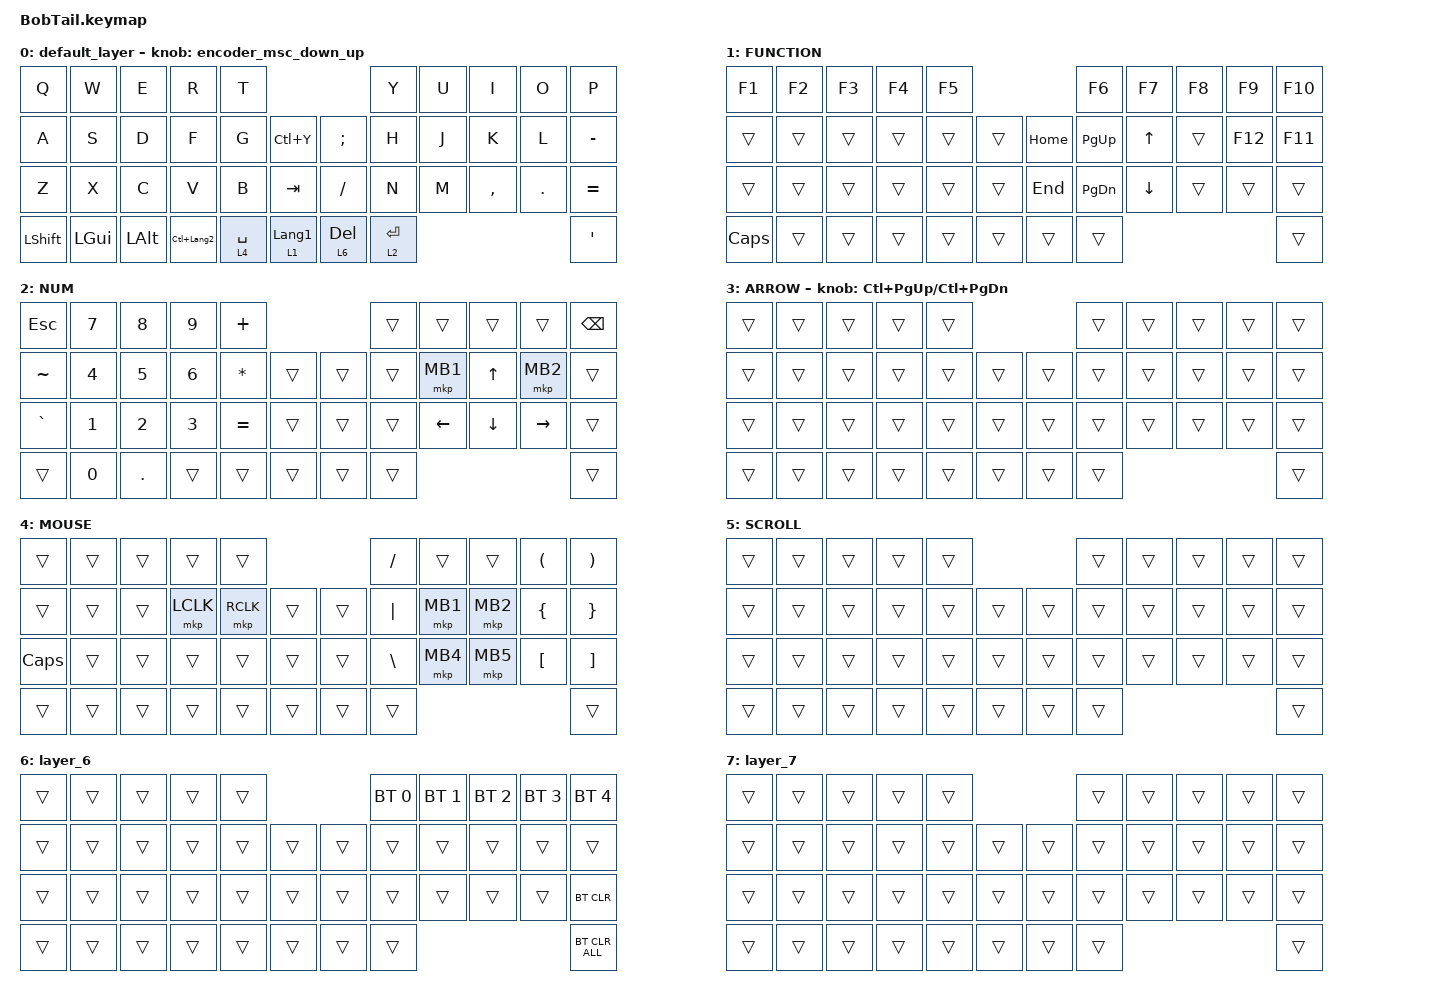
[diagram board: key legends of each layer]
#include <behaviors.dtsi>
#include <dt-bindings/zmk/bt.h>
#include <dt-bindings/zmk/keys.h>
#include <dt-bindings/zmk/pointing.h>

#define MOUSE 4
#define SCROLL 5
#define NUM 6
#define ZMK_POINTING_DEFAULT_SCRL_VAL 80

&mt {
    flavor = "balanced";
    quick-tap-ms = <0>;
};

/ {
    combos {
        compatible = "zmk,combos";

        shift_tab {
            bindings = <&kp LANG2>;
            key-positions = <12 13>;
        };

        lang {
            bindings = <&kp LANG1>;
            key-positions = <18 19>;
        };
    };

    behaviors {
        encoder_msc_down_up: encoder_msc_down_up {
            compatible = "zmk,behavior-sensor-rotate";
            label = "ENCODER_MSC_DOWN_UP";
            #sensor-binding-cells = <0>;
            bindings = <&msc SCRL_UP>, <&msc SCRL_DOWN>;

            tap-ms = <20>;
        };
    };

    keymap {
        compatible = "zmk,keymap";

        default_layer {
            bindings = <
&kp Q           &kp W     &kp E         &kp R               &kp T                                             &kp Y        &kp U  &kp I      &kp O    &kp P
&kp A           &kp S     &kp D         &kp F               &kp G        &kp LC(Y)             &kp SEMICOLON  &kp H        &kp J  &kp K      &kp L    &kp MINUS
&kp Z           &kp X     &kp C         &kp V               &kp B        &kp TAB               &kp SLASH      &kp N        &kp M  &kp COMMA  &kp DOT  &kp EQUAL
&kp LEFT_SHIFT  &kp LGUI  &kp LEFT_ALT  &kp LC(LANGUAGE_2)  &lt 4 SPACE  &lt 1 LANGUAGE_1      &lt 6 DEL      &lt 2 ENTER                             &kp SQT
            >;

            sensor-bindings = <&encoder_msc_down_up>;
        };

        FUNCTION {
            bindings = <
&kp F1    &kp F2  &kp F3  &kp F4  &kp F5                        &kp F6         &kp F7        &kp F8  &kp F9   &kp F10
&trans    &trans  &trans  &trans  &trans  &trans      &kp HOME  &kp PAGE_UP    &kp UP_ARROW  &trans  &kp F12  &kp F11
&trans    &trans  &trans  &trans  &trans  &trans      &kp END   &kp PAGE_DOWN  &kp DOWN      &trans  &trans   &trans
&kp CAPS  &trans  &trans  &trans  &trans  &trans      &trans    &trans                                        &trans
            >;
        };

        NUM {
            bindings = <
&kp ESCAPE  &kp N7  &kp N8      &kp N9  &kp PLUS                          &trans  &trans          &trans          &trans           &kp BACKSPACE
&kp TILDE   &kp N4  &kp N5      &kp N6  &kp ASTERISK  &trans      &trans  &trans  &mkp MB1        &kp UP_ARROW    &mkp MB2         &trans
&kp GRAVE   &kp N1  &kp N2      &kp N3  &kp EQUAL     &trans      &trans  &trans  &kp LEFT_ARROW  &kp DOWN_ARROW  &kp RIGHT_ARROW  &trans
&trans      &kp N0  &kp PERIOD  &trans  &trans        &trans      &trans  &trans                                                   &trans
            >;
        };

        ARROW {
            bindings = <
&trans  &trans  &trans  &trans  &trans                      &trans  &trans  &trans  &trans  &trans
&trans  &trans  &trans  &trans  &trans  &trans      &trans  &trans  &trans  &trans  &trans  &trans
&trans  &trans  &trans  &trans  &trans  &trans      &trans  &trans  &trans  &trans  &trans  &trans
&trans  &trans  &trans  &trans  &trans  &trans      &trans  &trans                          &trans
            >;

            sensor-bindings = <&inc_dec_kp LC(PAGE_UP) LC(PAGE_DOWN)>;
        };

        MOUSE {
            bindings = <
&trans    &trans  &trans  &trans     &trans                         &kp SLASH      &trans    &trans    &kp LEFT_PARENTHESIS  &kp RIGHT_PARENTHESIS
&trans    &trans  &trans  &mkp LCLK  &mkp RCLK  &trans      &trans  &kp PIPE       &mkp MB1  &mkp MB2  &kp LEFT_BRACE        &kp RIGHT_BRACE
&kp CAPS  &trans  &trans  &trans     &trans     &trans      &trans  &kp BACKSLASH  &mkp MB4  &mkp MB5  &kp LEFT_BRACKET      &kp RIGHT_BRACKET
&trans    &trans  &trans  &trans     &trans     &trans      &trans  &trans                                                   &trans
            >;
        };

        SCROLL {
            bindings = <
&trans  &trans  &trans  &trans  &trans                      &trans  &trans  &trans  &trans  &trans
&trans  &trans  &trans  &trans  &trans  &trans      &trans  &trans  &trans  &trans  &trans  &trans
&trans  &trans  &trans  &trans  &trans  &trans      &trans  &trans  &trans  &trans  &trans  &trans
&trans  &trans  &trans  &trans  &trans  &trans      &trans  &trans                          &trans
            >;
        };

        layer_6 {
            bindings = <
&trans  &trans  &trans  &trans  &trans                      &bt BT_SEL 0  &bt BT_SEL 1  &bt BT_SEL 2  &bt BT_SEL 3  &bt BT_SEL 4
&trans  &trans  &trans  &trans  &trans  &trans      &trans  &trans        &trans        &trans        &trans        &trans
&trans  &trans  &trans  &trans  &trans  &trans      &trans  &trans        &trans        &trans        &trans        &bt BT_CLR
&trans  &trans  &trans  &trans  &trans  &trans      &trans  &trans                                                  &bt BT_CLR_ALL
            >;
        };

        layer_7 {
            bindings = <
&trans  &trans  &trans  &trans  &trans                      &trans  &trans  &trans  &trans  &trans
&trans  &trans  &trans  &trans  &trans  &trans      &trans  &trans  &trans  &trans  &trans  &trans
&trans  &trans  &trans  &trans  &trans  &trans      &trans  &trans  &trans  &trans  &trans  &trans
&trans  &trans  &trans  &trans  &trans  &trans      &trans  &trans                          &trans
            >;
        };
    };
};
